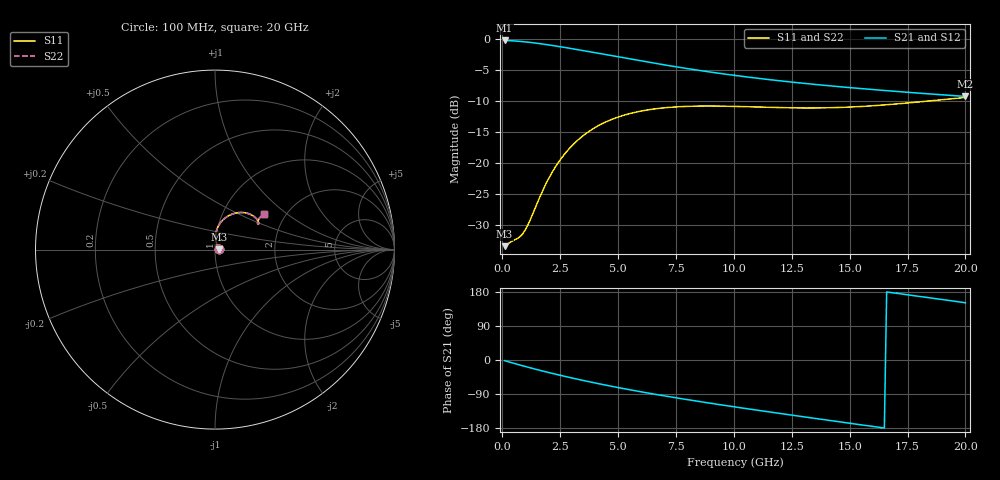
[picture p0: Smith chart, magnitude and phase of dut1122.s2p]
! Touchstone file exported from HFSS 2024.1.0
!  File:  C:/UserFiles/LocalFiles/RDL_TSV_Batchsim/temp_RDL_TSV_1122_1780106763.aedt
!  Generated:  10:19:59 AM May 30, 2026
!  Design:  RDL_TSV
!  Project:  temp_RDL_TSV_1122_1780106763
!  Setup:  Setup1
!  Solution:  Sweep
! Variables:
!  dtsv = 9.36um
!  hbump = 3um
!  htsv = 73.31um
!  ldown = 436.94um
!  lrdl = 412.87um
!  p = 40
!  p1 = 46.99um
!  rhole = 10um
!  subl = 2962.3um
!  t = 450um
!  tdown = 2um
!  trdl = 3.11um
!  viad = 10um
!  wdown = 25.33um
!  wrdl = 16.5um
!  xbump = 18um
# GHz S MA R 50.000000
! Terminal data exported
! Port[1] = TM1_1_T1
! Port[2] = TM1_4_T1
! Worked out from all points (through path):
!   200 points, 100 MHz to 20 GHz, reference 50 ohm
!   highest |S21| = -0.19 dB at 100 MHz (marker M1); lowest = -9.3 dB at 20 GHz (marker M2)
!   group delay of S21, straight-line fit = 27.4 ps
!   lowest |S11| = -33.5 dB at 100 MHz (marker M3), VSWR 1.04, Z = 52.1 + j0.282 ohm
!   |S11| at or under -10 dB: start of sweep to 18.39 GHz
!   |S22| runs from -33.5 to -9.4 dB; largest |S21 - S12| = 5.6e-14
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0.1  0.02112 7.4  0.9787 -1.8  0.9787 -1.8  0.02112 7.4
! Gamma 0 0 0 0
! Port Impedance 50 0 50 0
0.7  0.02469 41.5  0.9645 -12.2  0.9645 -12.2  0.02469 41.5
0.9  0.02688 54.5  0.957 -15.6  0.957 -15.6  0.02688 54.5
1.1  0.03121 66.8  0.9486 -18.9  0.9486 -18.9  0.03121 66.8
1.8  0.06256 86.7  0.9127 -30.0  0.9127 -30.0  0.06255 86.7
2.2  0.08665 87.3  0.8894 -36.0  0.8894 -36.0  0.08663 87.3
2.6  0.1119 84.9  0.8651 -41.8  0.8651 -41.8  0.1119 84.9
3  0.1369 81.2  0.8405 -47.4  0.8405 -47.4  0.1369 81.2
3.5  0.1663 75.9  0.8097 -54.1  0.8097 -54.1  0.1663 75.9
4.2  0.2022 68.3  0.7674 -63.1  0.7674 -63.1  0.2021 68.3
4.9  0.231 61.2  0.7268 -71.5  0.7268 -71.5  0.2309 61.2
5.8  0.2579 53.2  0.6782 -81.8  0.6782 -81.8  0.2578 53.2
6.8  0.2763 45.8  0.6294 -92.6  0.6294 -92.6  0.2762 45.8
7.6  0.2843 41.1  0.5947 -100.7  0.5947 -100.7  0.2841 41.1
8.4  0.2877 37.3  0.5636 -108.5  0.5636 -108.5  0.2876 37.3
10.1  0.286 32.0  0.5083 -124.3  0.5083 -124.3  0.2858 32.1
11.7  0.2806 30.3  0.4675 -138.5  0.4675 -138.5  0.2803 30.3
13.4  0.278 30.9  0.4329 -153.2  0.4329 -153.2  0.2777 30.9
15  0.2826 32.7  0.4063 -166.9  0.4063 -166.9  0.2823 32.8
16.7  0.2961 34.7  0.3824 178.8  0.3824 178.8  0.2959 34.8
18.3  0.315 35.7  0.3629 165.3  0.3629 165.3  0.3149 35.8
20  0.3379 35.5  0.3446 151.2  0.3446 151.2  0.3379 35.6
